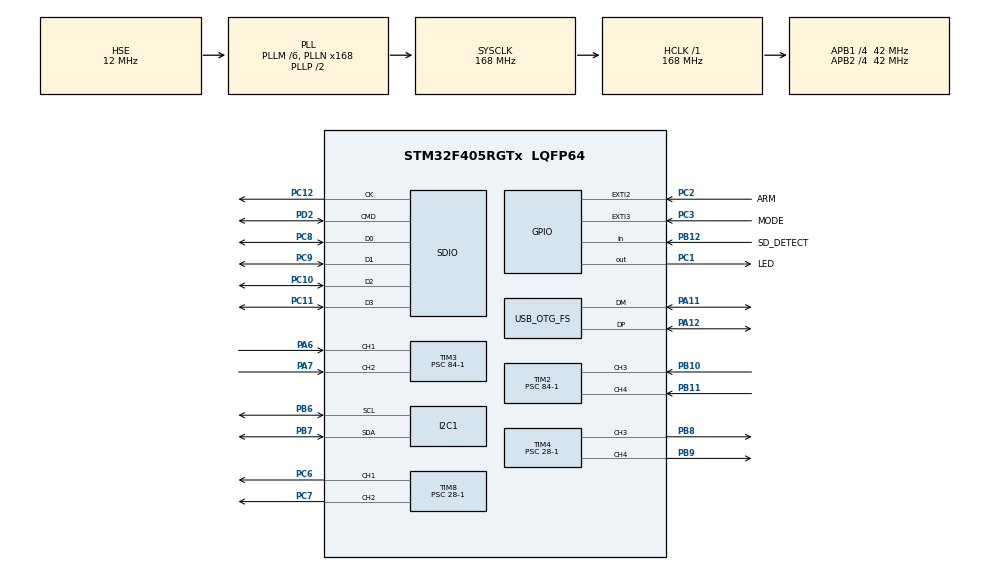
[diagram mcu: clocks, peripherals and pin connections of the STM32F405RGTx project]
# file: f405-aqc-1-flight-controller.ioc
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Dma.Request0=SDIO_RX
Dma.Request1=SDIO_TX
Dma.SDIO_RX.0.Direction=DMA_PERIPH_TO_MEMORY
Dma.SDIO_RX.0.FIFOMode=DMA_FIFOMODE_ENABLE
Dma.SDIO_RX.0.FIFOThreshold=DMA_FIFO_THRESHOLD_FULL
Dma.SDIO_RX.0.Instance=DMA2_Stream3
Dma.SDIO_RX.0.MemBurst=DMA_MBURST_INC4
Dma.SDIO_RX.0.MemDataAlignment=DMA_MDATAALIGN_WORD
Dma.SDIO_RX.0.MemInc=DMA_MINC_ENABLE
Dma.SDIO_RX.0.Mode=DMA_PFCTRL
Dma.SDIO_RX.0.PeriphBurst=DMA_PBURST_INC4
Dma.SDIO_RX.0.PeriphDataAlignment=DMA_PDATAALIGN_WORD
Dma.SDIO_RX.0.PeriphInc=DMA_PINC_DISABLE
Dma.SDIO_RX.0.Priority=DMA_PRIORITY_LOW
Dma.SDIO_TX.1.Direction=DMA_MEMORY_TO_PERIPH
Dma.SDIO_TX.1.FIFOMode=DMA_FIFOMODE_ENABLE
Dma.SDIO_TX.1.FIFOThreshold=DMA_FIFO_THRESHOLD_FULL
Dma.SDIO_TX.1.Instance=DMA2_Stream6
Dma.SDIO_TX.1.MemBurst=DMA_MBURST_INC4
Dma.SDIO_TX.1.MemDataAlignment=DMA_MDATAALIGN_WORD
Dma.SDIO_TX.1.MemInc=DMA_MINC_ENABLE
Dma.SDIO_TX.1.Mode=DMA_PFCTRL
Dma.SDIO_TX.1.PeriphBurst=DMA_PBURST_INC4
Dma.SDIO_TX.1.PeriphDataAlignment=DMA_PDATAALIGN_WORD
Dma.SDIO_TX.1.PeriphInc=DMA_PINC_DISABLE
Dma.SDIO_TX.1.Priority=DMA_PRIORITY_LOW
FATFS.BSP.number=1
FATFS.USE_DMA_CODE_SD=1
FATFS0.BSP.STBoard=false
FATFS0.BSP.api=Unknown
FATFS0.BSP.instance=PB12
FATFS0.BSP.ip=GPIO
FATFS0.BSP.mode=Input
FATFS0.BSP.name=Detect_SDIO
FATFS0.BSP.solution=PB12
Mcu.Family=STM32F4
Mcu.Name=STM32F405RGTx
Mcu.Package=LQFP64
NVIC.DMA2_Stream3_IRQn=true\:0\:0\:false\:false\:true\:false\:true\:true
NVIC.DMA2_Stream6_IRQn=true\:0\:0\:false\:false\:true\:false\:true\:true
NVIC.OTG_FS_IRQn=true\:0\:0\:false\:false\:true\:false\:true\:true
NVIC.PriorityGroup=NVIC_PRIORITYGROUP_4
NVIC.SDIO_IRQn=true\:0\:0\:false\:false\:true\:true\:true\:true
NVIC.TIM2_IRQn=true\:0\:0\:false\:false\:true\:true\:true\:true
NVIC.TIM3_IRQn=true\:0\:0\:false\:false\:true\:true\:true\:true
PA11.Mode=Device_Only
PA11.Signal=USB_OTG_FS_DM
PA12.Mode=Device_Only
PA12.Signal=USB_OTG_FS_DP
PA13.Mode=Serial_Wire
PA13.Signal=SYS_JTMS-SWDIO
PA14.Mode=Serial_Wire
PA14.Signal=SYS_JTCK-SWCLK
PA6.Signal=S_TIM3_CH1
PA7.Signal=S_TIM3_CH2
PB10.Signal=S_TIM2_CH3
PB11.Signal=S_TIM2_CH4
PB12.GPIO_Label=SD_DETECT
PB12.Signal=GPIO_Input
PB6.Mode=I2C
PB6.Signal=I2C1_SCL
PB7.Mode=I2C
PB7.Signal=I2C1_SDA
PB8.Signal=S_TIM4_CH3
PB9.Signal=S_TIM4_CH4
PC1.GPIO_Label=LED
PC1.Signal=GPIO_Output
PC10.GPIO_PuPd=GPIO_PULLUP
PC10.Mode=SD_4_bits_Wide_bus
PC10.Signal=SDIO_D2
PC11.Mode=SD_4_bits_Wide_bus
PC11.Signal=SDIO_D3
PC12.Mode=SD_4_bits_Wide_bus
PC12.Signal=SDIO_CK
PC2.GPIO_Label=ARM
PC2.GPIO_ModeDefaultEXTI=GPIO_MODE_IT_RISING_FALLING
PC2.GPIO_PuPd=GPIO_PULLDOWN
PC2.Signal=GPXTI2
PC3.GPIO_Label=MODE
PC3.GPIO_ModeDefaultEXTI=GPIO_MODE_IT_RISING_FALLING
PC3.GPIO_PuPd=GPIO_PULLDOWN
PC3.Signal=GPXTI3
PC6.Signal=S_TIM8_CH1
PC7.Signal=S_TIM8_CH2
PC8.GPIO_PuPd=GPIO_PULLUP
PC8.Mode=SD_4_bits_Wide_bus
PC8.Signal=SDIO_D0
PC9.GPIO_PuPd=GPIO_PULLUP
PC9.Mode=SD_4_bits_Wide_bus
PC9.Signal=SDIO_D1
PD2.GPIO_PuPd=GPIO_PULLUP
PD2.Mode=SD_4_bits_Wide_bus
PD2.Signal=SDIO_CMD
PH0-OSC_IN.Mode=HSE-External-Oscillator
PH0-OSC_IN.Signal=RCC_OSC_IN
PH1-OSC_OUT.Mode=HSE-External-Oscillator
PH1-OSC_OUT.Signal=RCC_OSC_OUT
ProjectManager.HeapSize=0x200
ProjectManager.StackSize=0x400
ProjectManager.TargetToolchain=STM32CubeIDE
RCC.48MHZClocksFreq_Value=48000000
RCC.AHBFreq_Value=168000000
RCC.APB1CLKDivider=RCC_HCLK_DIV4
RCC.APB1Freq_Value=42000000
RCC.APB1TimFreq_Value=84000000
RCC.APB2CLKDivider=RCC_HCLK_DIV4
RCC.APB2Freq_Value=42000000
RCC.APB2TimFreq_Value=84000000
RCC.CortexFreq_Value=168000000
RCC.HCLKFreq_Value=168000000
RCC.HSE_VALUE=12000000
RCC.HSI_VALUE=16000000
RCC.LSE_VALUE=32768
RCC.PLLM=6
RCC.PLLN=168
RCC.PLLQ=7
RCC.SYSCLKFreq_VALUE=168000000
RCC.SYSCLKSource=RCC_SYSCLKSOURCE_PLLCLK
RCC.VCOOutputFreq_Value=336000000
SH.S_TIM2_CH3.0=TIM2_CH3,Input_Capture3_from_TI3
SH.S_TIM2_CH4.0=TIM2_CH4,Input_Capture4_from_TI4
SH.S_TIM3_CH1.0=TIM3_CH1,Input_Capture1_from_TI1
SH.S_TIM3_CH2.0=TIM3_CH2,Input_Capture2_from_TI2
SH.S_TIM4_CH3.0=TIM4_CH3,PWM Generation3 CH3
SH.S_TIM4_CH4.0=TIM4_CH4,PWM Generation4 CH4
SH.S_TIM8_CH1.0=TIM8_CH1,PWM Generation1 CH1
SH.S_TIM8_CH2.0=TIM8_CH2,PWM Generation2 CH2
TIM2.Channel-Input_Capture3_from_TI3=TIM_CHANNEL_3
TIM2.Channel-Input_Capture4_from_TI4=TIM_CHANNEL_4
TIM2.ICPolarity_CH3=TIM_INPUTCHANNELPOLARITY_RISING
TIM2.ICPolarity_CH4=TIM_INPUTCHANNELPOLARITY_RISING
TIM2.Period=65535
TIM2.Prescaler=84-1
TIM3.Channel-Input_Capture1_from_TI1=TIM_CHANNEL_1
TIM3.Channel-Input_Capture2_from_TI2=TIM_CHANNEL_2
TIM3.ICPolarity_CH1=TIM_INPUTCHANNELPOLARITY_RISING
TIM3.ICPolarity_CH2=TIM_INPUTCHANNELPOLARITY_RISING
TIM3.Period=65535
TIM3.Prescaler=84-1
TIM4.Channel-PWM\ Generation3\ CH3=TIM_CHANNEL_3
TIM4.Channel-PWM\ Generation4\ CH4=TIM_CHANNEL_4
TIM4.Period=60000-1
TIM4.Prescaler=28-1
TIM8.Channel-PWM\ Generation1\ CH1=TIM_CHANNEL_1
TIM8.Channel-PWM\ Generation2\ CH2=TIM_CHANNEL_2
TIM8.Period=60000-1
TIM8.Prescaler=28-1
USB_DEVICE.CLASS_NAME_FS=CDC
USB_DEVICE.VirtualMode-CDC_FS=Cdc
USB_DEVICE.VirtualModeFS=Cdc_FS
USB_OTG_FS.VirtualMode=Device_Only
VP_FATFS_VS_SDIO.Mode=SDIO
VP_TIM2_VS_ClockSourceINT.Mode=Internal
VP_TIM3_VS_ClockSourceINT.Mode=Internal
VP_TIM4_VS_ClockSourceINT.Mode=Internal
VP_TIM8_VS_ClockSourceINT.Mode=Internal
VP_USB_DEVICE_VS_USB_DEVICE_CDC_FS.Mode=CDC_FS
board=custom

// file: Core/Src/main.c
/* USER CODE BEGIN Header */
/**
  ******************************************************************************
  * @file           : main.c
  * @brief          : Main program body
  ******************************************************************************
  * @attention
  *
  * Copyright (c) 2023 STMicroelectronics.
  * All rights reserved.
  *
  * This software is licensed under terms that can be found in the LICENSE file
  * in the root directory of this software component.
  * If no LICENSE file comes with this software, it is provided AS-IS.
  *
  ******************************************************************************
  */
/* USER CODE END Header */
#include "main.h"
#include "fatfs.h"
#include "usb_device.h"

/* USER CODE BEGIN Includes */
#include <stdlib.h>
#include <stdio.h>
#include <stdbool.h>
#include <string.h>
#include <math.h>
#include "usbd_cdc_if.h"

#include "system/system.h"
#include "system/error.h"
#include "esc/esc.h"
#include "rx/rx.h"
#include "flight/rc_input.h"
#include "sensors/imu/imu.h"
#include "flight/attitude.h"
#include "flight/mixer.h"
#include "common/time.h"
#include "common/led.h"
#include "common/settings.h"
/* USER CODE END Includes */

/* USER CODE BEGIN PD */

#define DEVICE_BOOT_TIME_MS		CONFIG_DEVICE_BOOT_TIME_MS
#define THRUST_COMP				CONFIG_THRUST_COMP

/* USER CODE END PD */

I2C_HandleTypeDef hi2c1;

SD_HandleTypeDef hsd;
DMA_HandleTypeDef hdma_sdio_rx;
DMA_HandleTypeDef hdma_sdio_tx;

TIM_HandleTypeDef htim2;
TIM_HandleTypeDef htim3;
TIM_HandleTypeDef htim4;
TIM_HandleTypeDef htim8;

/* USER CODE BEGIN PV */

static uint8_t tx_buffer[1000];	// DEBUG

/* USER CODE END PV */

void SystemClock_Config(void);
static void MX_GPIO_Init(void);
static void MX_DMA_Init(void);
static void MX_I2C1_Init(void);
static void MX_SDIO_SD_Init(void);
static void MX_TIM4_Init(void);
static void MX_TIM3_Init(void);
static void MX_TIM2_Init(void);
static void MX_TIM8_Init(void);

int main(void)
{
  /* USER CODE BEGIN 1 */
  /* Declare or Initialize Private Variables */
  bool arm_reset = true;

  rx_status_t rx_status;
  esc_status_t esc_status;
  rc_req_status_t rc_status;
  imu_status_t imu_status;
  attitude_status_t att_status;

  rc_reqs_t rcReqs = {0.0};
  imu_6D_t imu = {0};
  attitude_est_t attEst = {0.0};
  attitude_cmd_t attCmds = {0.0};
  mtr_cmds_t mtrCmds = {0.0};

  /* USER CODE END 1 */

  /* MCU Configuration--------------------------------------------------------*/

  /* Reset of all peripherals, Initializes the Flash interface and the Systick. */
  HAL_Init();

  /* Configure the system clock */
  SystemClock_Config();

  /* Initialize all configured peripherals */
  MX_GPIO_Init();
  MX_DMA_Init();
  MX_I2C1_Init();
  MX_SDIO_SD_Init();
  MX_FATFS_Init();
  MX_USB_DEVICE_Init();
  MX_TIM4_Init();
  MX_TIM3_Init();
  MX_TIM2_Init();
  MX_TIM8_Init();
  /* USER CODE BEGIN 2 */

  /* Wait for Devices to Boot */
  delay_ms(DEVICE_BOOT_TIME_MS);

  /* Initialize ESC and Start Comms */
  esc_status = esc_init();
  CHECK(esc_status);
  esc_status = esc_start();
  CHECK(esc_status);

  /* Initialize Rx Interface and Start Comms */
  rx_status = rx_init();
  CHECK(rx_status);
  rx_status = rx_start();
  CHECK(rx_status);

  /* Initialize RC Interface */
  rc_status = rc_init();
  CHECK(rc_status);

  /* Initialize IMU Interface */
  imu_status = imu_init();
  CHECK(imu_status);

  /* Initialize Attitude Controller */
  attitude_controller_init();

  /* Initialize Motor Mixer */
  mixer_init();

  /* Signal Flight Ready Status with LED */
  led_set_status(LED_READY);

  /* USER CODE END 2 */

  /* Infinite loop */
  /* USER CODE BEGIN WHILE */
  while (1)
  {
		/* Get Remote Control Input */
		rc_get_requests(&rcReqs);

		/* Read IMU */
		imu_read(&imu);

		/* Update Attitude Estimation */
		attitude_estimator_update(&imu, &attEst);

		/* Update Attitude PID Controllers */
		attitude_controller_update(&attCmds, &rcReqs, &attEst, imu.dt);

		/* Apply Motor Mixing */
		mixer_update(&mtrCmds, &attCmds, rcReqs.throttle);

		#if THRUST_COMP == ENABLED
		/* Apply Thrust Compensation */
		thrust_compensate(&mtrCmds, &attEst);
		#endif

		/* Check if Remote Control is Armed */
		if (rc_is_armed()) {
			/* Set Motor Commands */
			if (esc_is_armed()) {
				esc_set_motor_commands(&mtrCmds);

			/* Arm ESC (if ready) */
			} else {
				/* Check if Ready to Fly */
				if (ready_to_fly(imu.accel_z, &attEst, rcReqs.throttle)) {
					led_set_status(LED_READY);

					/* Check if Arm Switch was Reset */
					if (arm_reset)
						esc_arm();

				} else {
					led_set_status(LED_WAITING);
					arm_reset = false;
				}
			}

		} else {
			/* Disarm ESC (if not already) */
			if (esc_is_armed())
				esc_disarm();

			led_set_status(LED_WAITING);
			arm_reset = true;
		}

    /* USER CODE END WHILE */

  }
}

void SystemClock_Config(void)
{
  RCC_OscInitTypeDef RCC_OscInitStruct = {0};
  RCC_ClkInitTypeDef RCC_ClkInitStruct = {0};

  /** Configure the main internal regulator output voltage
  */
  __HAL_RCC_PWR_CLK_ENABLE();
  __HAL_PWR_VOLTAGESCALING_CONFIG(PWR_REGULATOR_VOLTAGE_SCALE1);

  /** Initializes the RCC Oscillators according to the specified parameters
  * in the RCC_OscInitTypeDef structure.
  */
  RCC_OscInitStruct.OscillatorType = RCC_OSCILLATORTYPE_HSE;
  RCC_OscInitStruct.HSEState = RCC_HSE_ON;
  RCC_OscInitStruct.PLL.PLLState = RCC_PLL_ON;
  RCC_OscInitStruct.PLL.PLLSource = RCC_PLLSOURCE_HSE;
  RCC_OscInitStruct.PLL.PLLM = 6;
  RCC_OscInitStruct.PLL.PLLN = 168;
  RCC_OscInitStruct.PLL.PLLP = RCC_PLLP_DIV2;
  RCC_OscInitStruct.PLL.PLLQ = 7;
  if (HAL_RCC_OscConfig(&RCC_OscInitStruct) != HAL_OK)
  {
    Error_Handler();
  }

  /** Initializes the CPU, AHB and APB buses clocks
  */
  RCC_ClkInitStruct.ClockType = RCC_CLOCKTYPE_HCLK|RCC_CLOCKTYPE_SYSCLK
                              |RCC_CLOCKTYPE_PCLK1|RCC_CLOCKTYPE_PCLK2;
  RCC_ClkInitStruct.SYSCLKSource = RCC_SYSCLKSOURCE_PLLCLK;
  RCC_ClkInitStruct.AHBCLKDivider = RCC_SYSCLK_DIV1;
  RCC_ClkInitStruct.APB1CLKDivider = RCC_HCLK_DIV4;
  RCC_ClkInitStruct.APB2CLKDivider = RCC_HCLK_DIV4;

  if (HAL_RCC_ClockConfig(&RCC_ClkInitStruct, FLASH_LATENCY_5) != HAL_OK)
  {
    Error_Handler();
  }
}

static void MX_I2C1_Init(void)
{

  hi2c1.Instance = I2C1;
  hi2c1.Init.ClockSpeed = 100000;
  hi2c1.Init.DutyCycle = I2C_DUTYCYCLE_2;
  hi2c1.Init.OwnAddress1 = 0;
  hi2c1.Init.AddressingMode = I2C_ADDRESSINGMODE_7BIT;
  hi2c1.Init.DualAddressMode = I2C_DUALADDRESS_DISABLE;
  hi2c1.Init.OwnAddress2 = 0;
  hi2c1.Init.GeneralCallMode = I2C_GENERALCALL_DISABLE;
  hi2c1.Init.NoStretchMode = I2C_NOSTRETCH_DISABLE;
  if (HAL_I2C_Init(&hi2c1) != HAL_OK)
  {
    Error_Handler();
  }

}

static void MX_SDIO_SD_Init(void)
{

  hsd.Instance = SDIO;
  hsd.Init.ClockEdge = SDIO_CLOCK_EDGE_RISING;
  hsd.Init.ClockBypass = SDIO_CLOCK_BYPASS_DISABLE;
  hsd.Init.ClockPowerSave = SDIO_CLOCK_POWER_SAVE_DISABLE;
  hsd.Init.BusWide = SDIO_BUS_WIDE_4B;
  hsd.Init.HardwareFlowControl = SDIO_HARDWARE_FLOW_CONTROL_DISABLE;
  hsd.Init.ClockDiv = 0;

}

static void MX_TIM2_Init(void)
{

  TIM_ClockConfigTypeDef sClockSourceConfig = {0};
  TIM_MasterConfigTypeDef sMasterConfig = {0};
  TIM_IC_InitTypeDef sConfigIC = {0};

  htim2.Instance = TIM2;
  htim2.Init.Prescaler = 84-1;
  htim2.Init.CounterMode = TIM_COUNTERMODE_UP;
  htim2.Init.Period = 65535;
  htim2.Init.ClockDivision = TIM_CLOCKDIVISION_DIV1;
  htim2.Init.AutoReloadPreload = TIM_AUTORELOAD_PRELOAD_DISABLE;
  if (HAL_TIM_Base_Init(&htim2) != HAL_OK)
  {
    Error_Handler();
  }
  sClockSourceConfig.ClockSource = TIM_CLOCKSOURCE_INTERNAL;
  if (HAL_TIM_ConfigClockSource(&htim2, &sClockSourceConfig) != HAL_OK)
  {
    Error_Handler();
  }
  if (HAL_TIM_IC_Init(&htim2) != HAL_OK)
  {
    Error_Handler();
  }
  sMasterConfig.MasterOutputTrigger = TIM_TRGO_RESET;
  sMasterConfig.MasterSlaveMode = TIM_MASTERSLAVEMODE_DISABLE;
  if (HAL_TIMEx_MasterConfigSynchronization(&htim2, &sMasterConfig) != HAL_OK)
  {
    Error_Handler();
  }
  sConfigIC.ICPolarity = TIM_INPUTCHANNELPOLARITY_RISING;
  sConfigIC.ICSelection = TIM_ICSELECTION_DIRECTTI;
  sConfigIC.ICPrescaler = TIM_ICPSC_DIV1;
  sConfigIC.ICFilter = 0;
  if (HAL_TIM_IC_ConfigChannel(&htim2, &sConfigIC, TIM_CHANNEL_3) != HAL_OK)
  {
    Error_Handler();
  }
  if (HAL_TIM_IC_ConfigChannel(&htim2, &sConfigIC, TIM_CHANNEL_4) != HAL_OK)
  {
    Error_Handler();
  }

}

static void MX_TIM3_Init(void)
{

  TIM_ClockConfigTypeDef sClockSourceConfig = {0};
  TIM_MasterConfigTypeDef sMasterConfig = {0};
  TIM_IC_InitTypeDef sConfigIC = {0};

  htim3.Instance = TIM3;
  htim3.Init.Prescaler = 84-1;
  htim3.Init.CounterMode = TIM_COUNTERMODE_UP;
  htim3.Init.Period = 65535;
  htim3.Init.ClockDivision = TIM_CLOCKDIVISION_DIV1;
  htim3.Init.AutoReloadPreload = TIM_AUTORELOAD_PRELOAD_DISABLE;
  if (HAL_TIM_Base_Init(&htim3) != HAL_OK)
  {
    Error_Handler();
  }
  sClockSourceConfig.ClockSource = TIM_CLOCKSOURCE_INTERNAL;
  if (HAL_TIM_ConfigClockSource(&htim3, &sClockSourceConfig) != HAL_OK)
  {
    Error_Handler();
  }
  if (HAL_TIM_IC_Init(&htim3) != HAL_OK)
  {
    Error_Handler();
  }
  sMasterConfig.MasterOutputTrigger = TIM_TRGO_RESET;
  sMasterConfig.MasterSlaveMode = TIM_MASTERSLAVEMODE_DISABLE;
  if (HAL_TIMEx_MasterConfigSynchronization(&htim3, &sMasterConfig) != HAL_OK)
  {
    Error_Handler();
  }
  sConfigIC.ICPolarity = TIM_INPUTCHANNELPOLARITY_RISING;
  sConfigIC.ICSelection = TIM_ICSELECTION_DIRECTTI;
  sConfigIC.ICPrescaler = TIM_ICPSC_DIV1;
  sConfigIC.ICFilter = 0;
  if (HAL_TIM_IC_ConfigChannel(&htim3, &sConfigIC, TIM_CHANNEL_1) != HAL_OK)
  {
    Error_Handler();
  }
  if (HAL_TIM_IC_ConfigChannel(&htim3, &sConfigIC, TIM_CHANNEL_2) != HAL_OK)
  {
    Error_Handler();
  }

}

static void MX_TIM4_Init(void)
{

  TIM_ClockConfigTypeDef sClockSourceConfig = {0};
  TIM_MasterConfigTypeDef sMasterConfig = {0};
  TIM_OC_InitTypeDef sConfigOC = {0};

  htim4.Instance = TIM4;
  htim4.Init.Prescaler = 28-1;
  htim4.Init.CounterMode = TIM_COUNTERMODE_UP;
  htim4.Init.Period = 60000-1;
  htim4.Init.ClockDivision = TIM_CLOCKDIVISION_DIV1;
  htim4.Init.AutoReloadPreload = TIM_AUTORELOAD_PRELOAD_DISABLE;
  if (HAL_TIM_Base_Init(&htim4) != HAL_OK)
  {
    Error_Handler();
  }
  sClockSourceConfig.ClockSource = TIM_CLOCKSOURCE_INTERNAL;
  if (HAL_TIM_ConfigClockSource(&htim4, &sClockSourceConfig) != HAL_OK)
  {
    Error_Handler();
  }
  if (HAL_TIM_PWM_Init(&htim4) != HAL_OK)
  {
    Error_Handler();
  }
  sMasterConfig.MasterOutputTrigger = TIM_TRGO_RESET;
  sMasterConfig.MasterSlaveMode = TIM_MASTERSLAVEMODE_DISABLE;
  if (HAL_TIMEx_MasterConfigSynchronization(&htim4, &sMasterConfig) != HAL_OK)
  {
    Error_Handler();
  }
  sConfigOC.OCMode = TIM_OCMODE_PWM1;
  sConfigOC.Pulse = 0;
  sConfigOC.OCPolarity = TIM_OCPOLARITY_HIGH;
  sConfigOC.OCFastMode = TIM_OCFAST_DISABLE;
  if (HAL_TIM_PWM_ConfigChannel(&htim4, &sConfigOC, TIM_CHANNEL_3) != HAL_OK)
  {
    Error_Handler();
  }
  if (HAL_TIM_PWM_ConfigChannel(&htim4, &sConfigOC, TIM_CHANNEL_4) != HAL_OK)
  {
    Error_Handler();
  }
  HAL_TIM_MspPostInit(&htim4);

}

static void MX_TIM8_Init(void)
{

  TIM_ClockConfigTypeDef sClockSourceConfig = {0};
  TIM_MasterConfigTypeDef sMasterConfig = {0};
  TIM_OC_InitTypeDef sConfigOC = {0};
  TIM_BreakDeadTimeConfigTypeDef sBreakDeadTimeConfig = {0};

  htim8.Instance = TIM8;
  htim8.Init.Prescaler = 28-1;
  htim8.Init.CounterMode = TIM_COUNTERMODE_UP;
  htim8.Init.Period = 60000-1;
  htim8.Init.ClockDivision = TIM_CLOCKDIVISION_DIV1;
  htim8.Init.RepetitionCounter = 0;
  htim8.Init.AutoReloadPreload = TIM_AUTORELOAD_PRELOAD_DISABLE;
  if (HAL_TIM_Base_Init(&htim8) != HAL_OK)
  {
    Error_Handler();
  }
  sClockSourceConfig.ClockSource = TIM_CLOCKSOURCE_INTERNAL;
  if (HAL_TIM_ConfigClockSource(&htim8, &sClockSourceConfig) != HAL_OK)
  {
    Error_Handler();
  }
  if (HAL_TIM_PWM_Init(&htim8) != HAL_OK)
  {
    Error_Handler();
  }
  sMasterConfig.MasterOutputTrigger = TIM_TRGO_RESET;
  sMasterConfig.MasterSlaveMode = TIM_MASTERSLAVEMODE_DISABLE;
  if (HAL_TIMEx_MasterConfigSynchronization(&htim8, &sMasterConfig) != HAL_OK)
  {
    Error_Handler();
  }
  sConfigOC.OCMode = TIM_OCMODE_PWM1;
  sConfigOC.Pulse = 0;
  sConfigOC.OCPolarity = TIM_OCPOLARITY_HIGH;
  sConfigOC.OCNPolarity = TIM_OCNPOLARITY_HIGH;
  sConfigOC.OCFastMode = TIM_OCFAST_DISABLE;
  sConfigOC.OCIdleState = TIM_OCIDLESTATE_RESET;
  sConfigOC.OCNIdleState = TIM_OCNIDLESTATE_RESET;
  if (HAL_TIM_PWM_ConfigChannel(&htim8, &sConfigOC, TIM_CHANNEL_1) != HAL_OK)
  {
    Error_Handler();
  }
  if (HAL_TIM_PWM_ConfigChannel(&htim8, &sConfigOC, TIM_CHANNEL_2) != HAL_OK)
  {
    Error_Handler();
  }
  sBreakDeadTimeConfig.OffStateRunMode = TIM_OSSR_DISABLE;
  sBreakDeadTimeConfig.OffStateIDLEMode = TIM_OSSI_DISABLE;
  sBreakDeadTimeConfig.LockLevel = TIM_LOCKLEVEL_OFF;
  sBreakDeadTimeConfig.DeadTime = 0;
  sBreakDeadTimeConfig.BreakState = TIM_BREAK_DISABLE;
  sBreakDeadTimeConfig.BreakPolarity = TIM_BREAKPOLARITY_HIGH;
  sBreakDeadTimeConfig.AutomaticOutput = TIM_AUTOMATICOUTPUT_DISABLE;
  if (HAL_TIMEx_ConfigBreakDeadTime(&htim8, &sBreakDeadTimeConfig) != HAL_OK)
  {
    Error_Handler();
  }
  HAL_TIM_MspPostInit(&htim8);

}

static void MX_DMA_Init(void)
{

  /* DMA controller clock enable */
  __HAL_RCC_DMA2_CLK_ENABLE();

  /* DMA interrupt init */
  /* DMA2_Stream3_IRQn interrupt configuration */
  HAL_NVIC_SetPriority(DMA2_Stream3_IRQn, 0, 0);
  HAL_NVIC_EnableIRQ(DMA2_Stream3_IRQn);
  /* DMA2_Stream6_IRQn interrupt configuration */
  HAL_NVIC_SetPriority(DMA2_Stream6_IRQn, 0, 0);
  HAL_NVIC_EnableIRQ(DMA2_Stream6_IRQn);

}

static void MX_GPIO_Init(void)
{
  GPIO_InitTypeDef GPIO_InitStruct = {0};

  /* GPIO Ports Clock Enable */
  __HAL_RCC_GPIOH_CLK_ENABLE();
  __HAL_RCC_GPIOC_CLK_ENABLE();
  __HAL_RCC_GPIOA_CLK_ENABLE();
  __HAL_RCC_GPIOB_CLK_ENABLE();
  __HAL_RCC_GPIOD_CLK_ENABLE();

  /*Configure GPIO pin Output Level */
  HAL_GPIO_WritePin(LED_GPIO_Port, LED_Pin, GPIO_PIN_RESET);

  /*Configure GPIO pin : LED_Pin */
  GPIO_InitStruct.Pin = LED_Pin;
  GPIO_InitStruct.Mode = GPIO_MODE_OUTPUT_PP;
  GPIO_InitStruct.Pull = GPIO_NOPULL;
  GPIO_InitStruct.Speed = GPIO_SPEED_FREQ_LOW;
  HAL_GPIO_Init(LED_GPIO_Port, &GPIO_InitStruct);

  /*Configure GPIO pins : ARM_Pin MODE_Pin */
  GPIO_InitStruct.Pin = ARM_Pin|MODE_Pin;
  GPIO_InitStruct.Mode = GPIO_MODE_IT_RISING_FALLING;
  GPIO_InitStruct.Pull = GPIO_PULLDOWN;
  HAL_GPIO_Init(GPIOC, &GPIO_InitStruct);

  /*Configure GPIO pin : SD_DETECT_Pin */
  GPIO_InitStruct.Pin = SD_DETECT_Pin;
  GPIO_InitStruct.Mode = GPIO_MODE_INPUT;
  GPIO_InitStruct.Pull = GPIO_NOPULL;
  HAL_GPIO_Init(SD_DETECT_GPIO_Port, &GPIO_InitStruct);

}

void Error_Handler(void)
{
  /* USER CODE BEGIN Error_Handler_Debug */
  /* User can add his own implementation to report the HAL error return state */
  __disable_irq();
  while (1)
  {
	  led_set_status(LED_ERROR);
  }
  /* USER CODE END Error_Handler_Debug */
}
